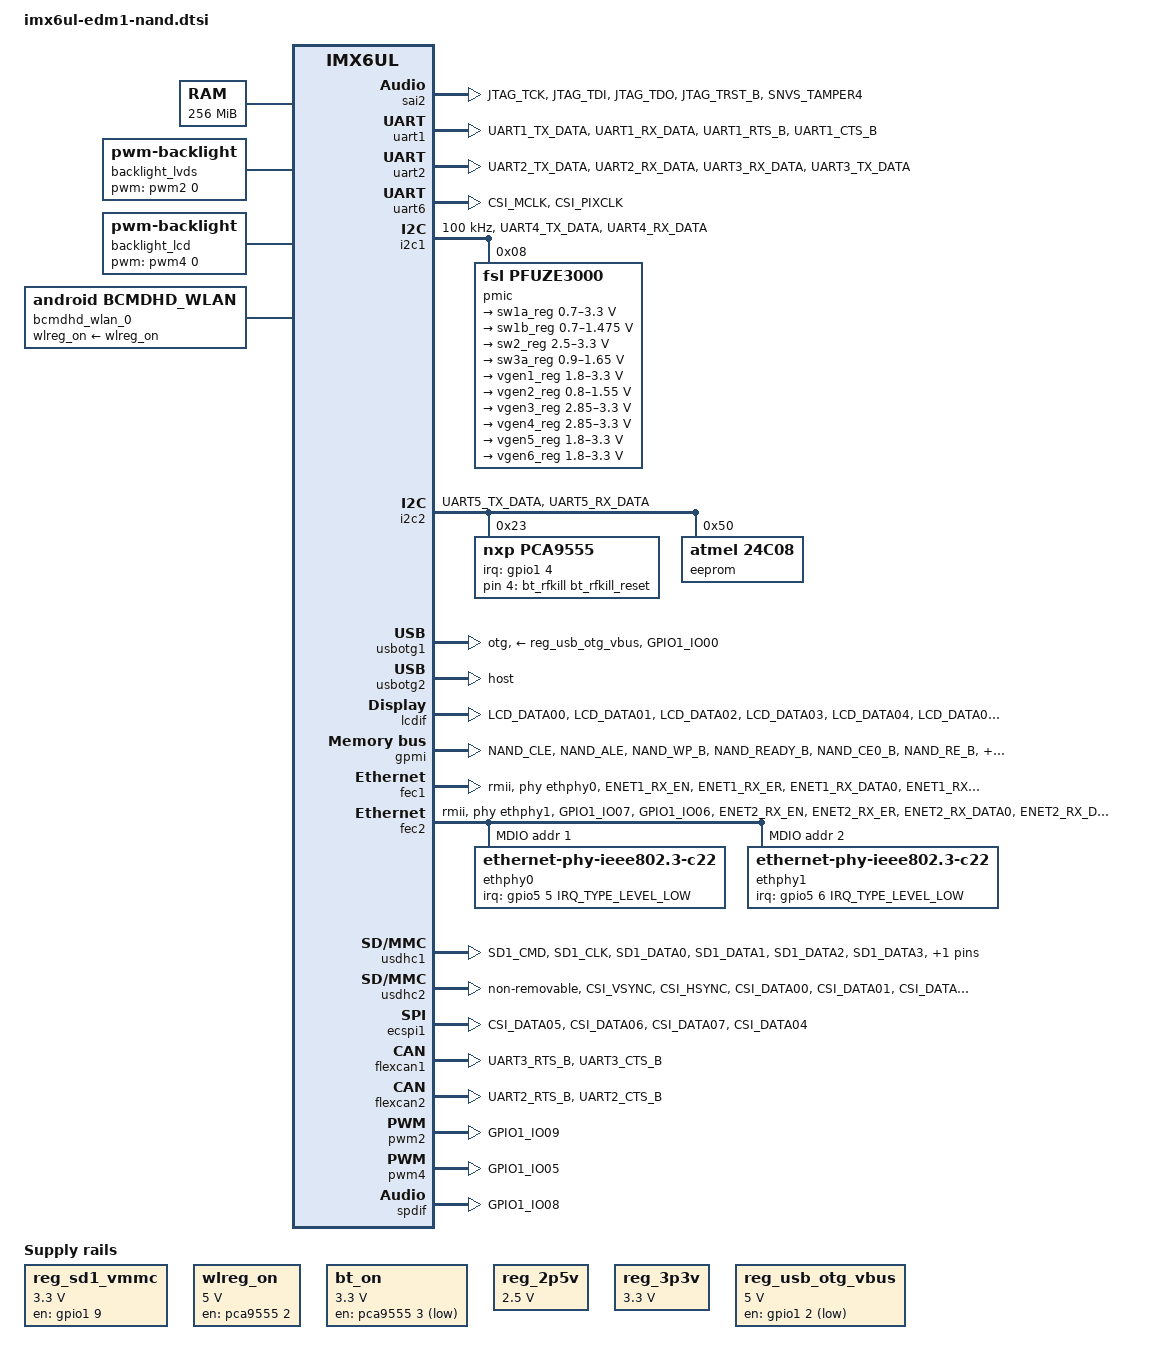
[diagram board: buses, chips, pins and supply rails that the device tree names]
/*
 * Copyright 2017 Technexion Ltd.
 *
 * Author: Tony Lin <tony.lin@technexion.com>
 *	   Tapani Utriainen <tapani@technexion.com>
 *
 * This program is free software; you can redistribute it and/or modify
 * it under the terms of the GNU General Public License version 2 as
 * published by the Free Software Foundation.
 *
 */

#include <dt-bindings/gpio/gpio.h>

/* external GPIO */
#define EDM_EXT_GPIO_P263 gpio5 7
#define EDM_EXT_GPIO_P255 pca9555 8
#define EDM_EXT_GPIO_P256 pca9555 9
#define EDM_EXT_GPIO_P257 pca9555 10
#define EDM_EXT_GPIO_P258 pca9555 11
#define EDM_EXT_GPIO_P259 pca9555 12
#define EDM_EXT_GPIO_P260 pca9555 13
#define EDM_EXT_GPIO_P261 gpio5 0
#define EDM_EXT_GPIO_P262 pca9555 14
#define EDM_EXT_GPIO_P264 pca9555 15
#define EDM_EXT_GPIO_P265 gpio1 5
#define EDM_EXT_GPIO_P266 gpio1 1

/* audio codec */
#define EDM_AUD_I2S_CHANNEL sai2
#define EDM_AUD_CLK_SRC clks IMX6UL_CLK_OSC

/* ADS7846 Touch */
#define EDM1_EXT_ADS7846_IOMUX_FAIRY &pinctrl_ext_gpio_ads7846_touch_irq_fairy

/* FT5606 Touch */
#define EDM1_EXT_FT5X06_IOMUX_FAIRY &pinctrl_ext_gpio_ft5606_touch_irq_fairy
#define EDM1_EXT_FT5X06_IOMUX_GNOME &pinctrl_ext_gpio_ft5606_touch_irq_gnome

#define EDM_EXT_GPIO_IOMUX_GNOME &pinctrl_ext_gpio_gnome

#define can1 flexcan1
#define can2 flexcan2

#define EDM1_FAIRY_I2C1 i2c3
#define EDM1_FAIRY_I2C2 i2c1
#define EDM1_FAIRY_I2C3 i2c2

#define EDM1_GNOME_I2C1 i2c3
#define EDM1_GNOME_I2C2 i2c1
#define EDM1_GNOME_I2C3 i2c2

/ {
	memory {
		reg = <0x80000000 0x10000000>;
	};

	chosen {
		stdout-path = &uart6;
	};

        pxp_v4l2 {
                compatible = "fsl,imx6ul-pxp-v4l2", "fsl,imx6sx-pxp-v4l2", "fsl,imx6sl-pxp-v4l2";
                status = "okay";
        };

        backlight_lvds {
                compatible = "pwm-backlight";
                pwms = <&pwm2 0 50000>;
                brightness-levels = <0 4 8 16 32 64 128 255>;
                default-brightness-level = <6>;
                status = "okay";
        };

        backlight_lcd {
                compatible = "pwm-backlight";
                pwms = <&pwm4 0 50000>;
                brightness-levels = <0 4 8 16 32 64 128 255>;
                default-brightness-level = <6>;
                status = "okay";
        };

	regulators {
		compatible = "simple-bus";
		#address-cells = <1>;
		#size-cells = <0>;

		reg_sd1_vmmc: regulator@1 {
			compatible = "regulator-fixed";
			regulator-name = "VSD_3V3";
			regulator-min-microvolt = <3300000>;
			regulator-max-microvolt = <3300000>;
			gpio = <&gpio1 9 GPIO_ACTIVE_HIGH>;
			enable-active-high;
			regulator-always-on;
		};

		wlreg_on: fixedregulator@100 {
			compatible = "regulator-fixed";
			regulator-min-microvolt = <5000000>;
			regulator-max-microvolt = <5000000>;
			regulator-name = "wlreg_on";
			gpio = <&pca9555 2 GPIO_ACTIVE_HIGH>;  /*WL_REG_ON  */
			startup-delay-us = <100>;
			enable-active-high;
		};

		bt_on: bt_on {
			compatible = "regulator-fixed";
			regulator-min-microvolt = <3300000>;
			regulator-max-microvolt = <3300000>;
			regulator-name = "bt_on";
			gpio = <&pca9555 3 GPIO_ACTIVE_HIGH>;
			regulator-boot-on;
		};

		reg_2p5v: 2p5v {
			compatible = "regulator-fixed";
			regulator-name = "2P5V";
			regulator-min-microvolt = <2500000>;
			regulator-max-microvolt = <2500000>;
			regulator-always-on;
		};

		reg_3p3v: 3p3v {
			compatible = "regulator-fixed";
			regulator-name = "3P3V";
			regulator-min-microvolt = <3300000>;
			regulator-max-microvolt = <3300000>;
			regulator-always-on;
		};

		reg_usb_otg_vbus: usb_otg_vbus {
			compatible = "regulator-fixed";
			pinctrl-names = "default";
			pinctrl-0 = <&pinctrl_usb_otg1>;
			regulator-name = "usb_otg_vbus";
			regulator-min-microvolt = <5000000>;
			regulator-max-microvolt = <5000000>;
			gpio = <&gpio1 2 0>;
			enable-active-low;
		};
	};

	bcmdhd_wlan_0: bcmdhd_wlan@0 {
		compatible = "android,bcmdhd_wlan";
		pinctrl-0 = <&pinctrl_wifi_ctrl>;
		pinctrl-names = "default";
		wlreg_on-supply = <&wlreg_on>;
		status="okay";
	};

	bt_rfkill {
		compatible = "net,rfkill-bcm43xx";
		name = "bt_rfkill";
		type = <2>;     /* bluetooth */
		bt_rfkill_reset-gpios = <&pca9555 4 0>;
	};

        sound-spdif {
                compatible = "fsl,imx-audio-spdif";
                model = "imx-spdif";
                spdif-controller = <&spdif>;
                spdif-in;
                spdif-out;
        };

        gpio-edm {
                compatible = "gpio-edm";

                gpio_expio0 {
                    label = "GPIO_EXPIO0";    /*LVDS_CHIP_ON*/
                    gpios = <&pca9555 0 1>;
                    dir   = "out";
                };

                gpio_expio1 {
                    label = "GPIO_EXPIO1";    /*WIFI_PW_ON*/
                    gpios = <&pca9555 1 1>;
                    dir   = "out";
                };

                gpio_expio5 {
                    label = "GPIO_EXPIO5";    /*LVDS0_BLT_EN*/
                    gpios = <&pca9555 5 1>;
                    dir   = "out";
                };

                gpio_expio6 {
                    label = "GPIO_EXPIO6";    /*LVDS0_VDD_EN*/
                    gpios = <&pca9555 6 1>;
                    dir   = "out";
                };

                gpio_expio7 {
                    label = "GPIO_EXPIO7";    /*LCD_BLT_EN*/
                    gpios = <&pca9555 7 1>;
                    dir   = "out";
                };

                gpio_expio16 {
                    label = "GPIO_EXPIO16";
                    gpios = <&gpio5 8 1>;
                    dir   = "out";
                };
        };
};

&cpu0 {
	/*
	 * on i.MX6UL, no seperated VDD_ARM_IN and VDD_SOC_IN,
	 * to align with other platform and use the same cpufreq
	 * driver, still use the seperated OPP define for arm
	 * and soc.
	 */
	operating-points = <
		/* kHz	uV */
		528000	1175000
		396000	1175000
		198000	1175000
	>;
	fsl,soc-operating-points = <
		/* KHz	uV */
		528000	1175000
		396000	1175000
		198000	1175000
	>;
	arm-supply = <&sw1b_reg>;
	soc-supply = <&sw1b_reg>;
	fsl,arm-soc-shared = <1>;
};

&clks {
	assigned-clocks = <&clks IMX6UL_CLK_PLL4_AUDIO_DIV>;
	assigned-clock-rates = <786432000>;
};

&csi {
	status = "disabled";
};

&gpc {
	fsl,cpu_pupscr_sw2iso = <0x1>;
	fsl,cpu_pupscr_sw = <0x0>;
	fsl,cpu_pdnscr_iso2sw = <0x1>;
	fsl,cpu_pdnscr_iso = <0x1>;
	fsl,wdog-reset = <1>; /* watchdog select of reset source */
	fsl,ldo-bypass = <0>; /* DCDC, ldo-enable */
};

&sai2 {
        pinctrl-names = "default";
        pinctrl-0 = <&pinctrl_sai2>;
        status = "okay";
};

&uart1 {
        pinctrl-names = "default";
        pinctrl-0 = <&pinctrl_uart1>;
        fsl,uart-has-rtscts;
        status = "okay";
};

// Bluetooth
&uart2 {
        pinctrl-names = "default";
        pinctrl-0 = <&pinctrl_uart2>;
        /* for DTE mode, add below change */
        /* fsl,dte-mode; */
        /*pinctrl-0 = <&pinctrl_uart2dte>;*/
        fsl,uart-has-rtscts;
        status = "okay";
};

/* Debug Console */
&uart6 {
        pinctrl-names = "default";
        pinctrl-0 = <&pinctrl_uart6>;
        status = "okay";
};

&i2c1 {
	clock-frequency = <100000>;
	pinctrl-names = "default";
	pinctrl-0 = <&pinctrl_i2c1>;
	status = "okay";

	pmic: pfuze3000@08 {
		compatible = "fsl,pfuze3000";
		reg = <0x08>;

		regulators {
			sw1a_reg: sw1a {
				regulator-min-microvolt = <700000>;
				regulator-max-microvolt = <3300000>;
				regulator-boot-on;
				regulator-always-on;
				regulator-ramp-delay = <6250>;
			};

			/* VDD_ARM_SOC_IN*/
			sw1b_reg: sw1b {
				regulator-min-microvolt = <700000>;
				regulator-max-microvolt = <1475000>;
				regulator-boot-on;
				regulator-always-on;
				regulator-ramp-delay = <6250>;
			};

			sw2_reg: sw2 {
				regulator-min-microvolt = <2500000>;
				regulator-max-microvolt = <3300000>;
				regulator-boot-on;
				regulator-always-on;
			};

			/* DRAM */
			sw3a_reg: sw3 {
				regulator-min-microvolt = <900000>;
				regulator-max-microvolt = <1650000>;
				regulator-boot-on;
				regulator-always-on;
			};

			/* DRAM */
			vref_reg: vrefddr {
				regulator-boot-on;
				regulator-always-on;
			};

			vgen1_reg: vldo1 {
				regulator-min-microvolt = <1800000>;
				regulator-max-microvolt = <3300000>;
				regulator-always-on;
			};

			vgen2_reg: vldo2 {
				regulator-min-microvolt = <800000>;
				regulator-max-microvolt = <1550000>;
				regulator-always-on;
			};

			vgen3_reg: vccsd {
				regulator-min-microvolt = <2850000>;
				regulator-max-microvolt = <3300000>;
				regulator-always-on;
			};

			vgen4_reg: v33 {
				regulator-min-microvolt = <2850000>;
				regulator-max-microvolt = <3300000>;
				regulator-always-on;
			};

			vgen5_reg: vldo3 {
				regulator-min-microvolt = <1800000>;
				regulator-max-microvolt = <3300000>;
				regulator-always-on;
			};

			vgen6_reg: vldo4 {
				regulator-min-microvolt = <1800000>;
				regulator-max-microvolt = <3300000>;
				regulator-always-on;
			};
		};
	};
};

&i2c2 {
	clock_frequency = <100000>;
	pinctrl-names = "default";
	pinctrl-0 = <&pinctrl_i2c2>;
	status = "okay";

        pca9555: pca9555@23 {
                compatible = "nxp,pca9555";
                pinctrl-names = "default";
                pinctrl-0 = <&pinctrl_pca9555_interrupt>;
                interrupt-parent = <&gpio1>;
                interrupts = <4 IRQ_TYPE_EDGE_FALLING>;
                gpio-controller;
                #gpio-cells = <2>;
                interrupt-controller;
                #interrupt-cells = <2>;
                reg = <0x23>;
	};

        eeprom@50 {
                compatible = "atmel,24c08";
                reg = <0x50>;
                pagesize = <16>;
        };
};

&i2c3 {
        status = "disabled";
};

&iomuxc {
	pinctrl-names = "default";
	pinctrl-0 = <&pinctrl_hog_1>;

	edm1-imx6ul {
                  pinctrl_ext_gpio_gnome: ext-gpio-grp-gnome {
                        fsl,pins = <
				MX6UL_PAD_GPIO1_IO01__GPIO1_IO01	0x79
				MX6UL_PAD_SNVS_TAMPER7__GPIO5_IO07	0x79
			>;
		};

		  pinctrl_hog_1: hoggrp-1 {
			fsl,pins = <
				MX6UL_PAD_GPIO1_IO03__GPIO1_IO03	0x17059		/* SD1 CD */
				MX6UL_PAD_JTAG_TMS__CCM_CLKO1		0x17088
			>;
		  };

                  pinctrl_uart1: uart1grp {
                        fsl,pins = <
                                MX6UL_PAD_UART1_TX_DATA__UART1_DCE_TX	0x1b0b1
                                MX6UL_PAD_UART1_RX_DATA__UART1_DCE_RX	0x1b0b1
                                MX6UL_PAD_UART1_RTS_B__UART1_DCE_RTS	0x1b0b1
                                MX6UL_PAD_UART1_CTS_B__UART1_DCE_CTS	0x1b0b1
                        >;
                  };

                  pinctrl_uart2: uart2grp {
                        fsl,pins = <
                                MX6UL_PAD_UART2_TX_DATA__UART2_DCE_TX	0x1b0b1
                                MX6UL_PAD_UART2_RX_DATA__UART2_DCE_RX	0x1b0b1
                                MX6UL_PAD_UART3_RX_DATA__UART2_DCE_RTS	0x1b0b1
                                MX6UL_PAD_UART3_TX_DATA__UART2_DCE_CTS	0x1b0b1
                        >;
                  };

                  pinctrl_uart2dte: uart2dtegrp {
                        fsl,pins = <
                                MX6UL_PAD_UART2_TX_DATA__UART2_DTE_RX	0x1b0b1
                                MX6UL_PAD_UART2_RX_DATA__UART2_DTE_TX	0x1b0b1
                                MX6UL_PAD_UART3_RX_DATA__UART2_DTE_CTS	0x1b0b1
                                MX6UL_PAD_UART3_TX_DATA__UART2_DTE_RTS	0x1b0b1
                        >;
                  };

                  pinctrl_uart6: uart6grp {
                        fsl,pins = <
                                MX6UL_PAD_CSI_MCLK__UART6_DCE_TX 0x1b0b1
                                MX6UL_PAD_CSI_PIXCLK__UART6_DCE_RX 0x1b0b1
                        >;
                  };

		  pinctrl_usdhc1: usdhc1grp {
			fsl,pins = <
				MX6UL_PAD_SD1_CMD__USDHC1_CMD     0x17059
				MX6UL_PAD_SD1_CLK__USDHC1_CLK     0x10071
				MX6UL_PAD_SD1_DATA0__USDHC1_DATA0 0x17059
				MX6UL_PAD_SD1_DATA1__USDHC1_DATA1 0x17059
				MX6UL_PAD_SD1_DATA2__USDHC1_DATA2 0x17059
				MX6UL_PAD_SD1_DATA3__USDHC1_DATA3 0x17059
			>;
		  };

		  pinctrl_i2c1: i2c1grp {
			fsl,pins = <
				MX6UL_PAD_UART4_TX_DATA__I2C1_SCL	0x4001b8b0
				MX6UL_PAD_UART4_RX_DATA__I2C1_SDA	0x4001b8b0
			>;
		  };

		  pinctrl_i2c2: i2c2grp {
			fsl,pins = <
				MX6UL_PAD_UART5_TX_DATA__I2C2_SCL 0x4001b8b0
				MX6UL_PAD_UART5_RX_DATA__I2C2_SDA 0x4001b8b0
			>;
		  };

		  pinctrl_wifi_ctrl: wifi_ctrlgrp {
			fsl,pins = <
				MX6UL_PAD_SNVS_TAMPER8__GPIO5_IO08 0x79 /* wifi-host-wake */
			>;
		  };

		  pinctrl_lcdif_dat: lcdifdatgrp {
			fsl,pins = <
				MX6UL_PAD_LCD_DATA00__LCDIF_DATA00  0x79
				MX6UL_PAD_LCD_DATA01__LCDIF_DATA01  0x79
				MX6UL_PAD_LCD_DATA02__LCDIF_DATA02  0x79
				MX6UL_PAD_LCD_DATA03__LCDIF_DATA03  0x79
				MX6UL_PAD_LCD_DATA04__LCDIF_DATA04  0x79
				MX6UL_PAD_LCD_DATA05__LCDIF_DATA05  0x79
				MX6UL_PAD_LCD_DATA06__LCDIF_DATA06  0x79
				MX6UL_PAD_LCD_DATA07__LCDIF_DATA07  0x79
				MX6UL_PAD_LCD_DATA08__LCDIF_DATA08  0x79
				MX6UL_PAD_LCD_DATA09__LCDIF_DATA09  0x79
				MX6UL_PAD_LCD_DATA10__LCDIF_DATA10  0x79
				MX6UL_PAD_LCD_DATA11__LCDIF_DATA11  0x79
				MX6UL_PAD_LCD_DATA12__LCDIF_DATA12  0x79
				MX6UL_PAD_LCD_DATA13__LCDIF_DATA13  0x79
				MX6UL_PAD_LCD_DATA14__LCDIF_DATA14  0x79
				MX6UL_PAD_LCD_DATA15__LCDIF_DATA15  0x79
				MX6UL_PAD_LCD_DATA16__LCDIF_DATA16  0x79
				MX6UL_PAD_LCD_DATA17__LCDIF_DATA17  0x79
				MX6UL_PAD_LCD_DATA18__LCDIF_DATA18  0x79
				MX6UL_PAD_LCD_DATA19__LCDIF_DATA19  0x79
				MX6UL_PAD_LCD_DATA20__LCDIF_DATA20  0x79
				MX6UL_PAD_LCD_DATA21__LCDIF_DATA21  0x79
				MX6UL_PAD_LCD_DATA22__LCDIF_DATA22  0x79
				MX6UL_PAD_LCD_DATA23__LCDIF_DATA23  0x79
			>;
		  };

		  pinctrl_lcdif_ctrl: lcdifctrlgrp {
			fsl,pins = <
				MX6UL_PAD_LCD_CLK__LCDIF_CLK	    0x79
				MX6UL_PAD_LCD_ENABLE__LCDIF_ENABLE  0x79
				MX6UL_PAD_LCD_HSYNC__LCDIF_HSYNC    0x79
				MX6UL_PAD_LCD_VSYNC__LCDIF_VSYNC    0x79
				/* used for lcd reset */
				MX6UL_PAD_SNVS_TAMPER9__GPIO5_IO09  0x79
			>;
		  };

		  pinctrl_gpmi_nand: gpmi-nand {
			fsl,pins = <
				MX6UL_PAD_NAND_CLE__RAWNAND_CLE         0xb0b1
				MX6UL_PAD_NAND_ALE__RAWNAND_ALE         0xb0b1
				MX6UL_PAD_NAND_WP_B__RAWNAND_WP_B       0xb0b1
				MX6UL_PAD_NAND_READY_B__RAWNAND_READY_B 0xb000
				MX6UL_PAD_NAND_CE0_B__RAWNAND_CE0_B     0xb0b1
				MX6UL_PAD_NAND_RE_B__RAWNAND_RE_B       0xb0b1
				MX6UL_PAD_NAND_WE_B__RAWNAND_WE_B       0xb0b1
				MX6UL_PAD_NAND_DATA00__RAWNAND_DATA00   0xb0b1
				MX6UL_PAD_NAND_DATA01__RAWNAND_DATA01   0xb0b1
				MX6UL_PAD_NAND_DATA02__RAWNAND_DATA02   0xb0b1
				MX6UL_PAD_NAND_DATA03__RAWNAND_DATA03   0xb0b1
				MX6UL_PAD_NAND_DATA04__RAWNAND_DATA04   0xb0b1
				MX6UL_PAD_NAND_DATA05__RAWNAND_DATA05   0xb0b1
				MX6UL_PAD_NAND_DATA06__RAWNAND_DATA06   0xb0b1
				MX6UL_PAD_NAND_DATA07__RAWNAND_DATA07   0xb0b1
				MX6UL_PAD_NAND_DQS__QSPI_A_SS0_B          0x70a1
			>;
		  };

                pinctrl_enet1: enet1grp {
                        fsl,pins = <
                                MX6UL_PAD_ENET1_RX_EN__ENET1_RX_EN	0x1b0b0
                                MX6UL_PAD_ENET1_RX_ER__ENET1_RX_ER	0x1b0b0
                                MX6UL_PAD_ENET1_RX_DATA0__ENET1_RDATA00	0x1b0b0
                                MX6UL_PAD_ENET1_RX_DATA1__ENET1_RDATA01	0x1b0b0
                                MX6UL_PAD_ENET1_TX_EN__ENET1_TX_EN	0x1b0b0
                                MX6UL_PAD_ENET1_TX_DATA0__ENET1_TDATA00	0x1b0b0
                                MX6UL_PAD_ENET1_TX_DATA1__ENET1_TDATA01	0x1b0b0
                                MX6UL_PAD_ENET1_TX_CLK__ENET1_REF_CLK1	0x4001b031
                                MX6UL_PAD_SNVS_TAMPER5__GPIO5_IO05	0x800
                                MX6UL_PAD_SNVS_TAMPER2__GPIO5_IO02	0x79
                        >;
                };

		pinctrl_enet2: enet2grp {
			fsl,pins = <
				MX6UL_PAD_GPIO1_IO07__ENET2_MDC		0x1b0b0
				MX6UL_PAD_GPIO1_IO06__ENET2_MDIO	0x1b0b0
				MX6UL_PAD_ENET2_RX_EN__ENET2_RX_EN	0x1b0b0
				MX6UL_PAD_ENET2_RX_ER__ENET2_RX_ER	0x1b0b0
				MX6UL_PAD_ENET2_RX_DATA0__ENET2_RDATA00	0x1b0b0
				MX6UL_PAD_ENET2_RX_DATA1__ENET2_RDATA01	0x1b0b0
				MX6UL_PAD_ENET2_TX_EN__ENET2_TX_EN	0x1b0b0
				MX6UL_PAD_ENET2_TX_DATA0__ENET2_TDATA00	0x1b0b0
				MX6UL_PAD_ENET2_TX_DATA1__ENET2_TDATA01	0x1b0b0
				MX6UL_PAD_ENET2_TX_CLK__ENET2_REF_CLK2	0x4001b031
				MX6UL_PAD_SNVS_TAMPER6__GPIO5_IO06	0x800
				MX6UL_PAD_SNVS_TAMPER3__GPIO5_IO03	0x79    /* ethernet reset pin */
			>;
		};

		pinctrl_usdhc2: usdhc2grp {
			fsl,pins = <
				MX6UL_PAD_CSI_VSYNC__USDHC2_CLK		0x10059
				MX6UL_PAD_CSI_HSYNC__USDHC2_CMD		0x17059
				MX6UL_PAD_CSI_DATA00__USDHC2_DATA0	0x17059
				MX6UL_PAD_CSI_DATA01__USDHC2_DATA1	0x17059
				MX6UL_PAD_CSI_DATA02__USDHC2_DATA2	0x17059
				MX6UL_PAD_CSI_DATA03__USDHC2_DATA3	0x17059
			>;
		};

                pinctrl_sai2: sai2grp {
                        fsl,pins = <
                                MX6UL_PAD_JTAG_TCK__SAI2_RX_DATA	0x110b0
                                MX6UL_PAD_JTAG_TDI__SAI2_TX_BCLK	0x110b0
                                MX6UL_PAD_JTAG_TDO__SAI2_TX_SYNC	0x110b0
                                MX6UL_PAD_JTAG_TRST_B__SAI2_TX_DATA	0x1f0b8
                                MX6UL_PAD_SNVS_TAMPER4__GPIO5_IO04 0x17059
                        >;
                };

                pinctrl_spdif: spdifgrp {
                        fsl,pins = <
                                MX6UL_PAD_GPIO1_IO08__SPDIF_OUT       0x1b0b0
                        >;
                };

                pinctrl_ecspi1: ecspi1grp {
                        fsl,pins = <
                                MX6UL_PAD_CSI_DATA05__GPIO4_IO26  0x10b0
                                MX6UL_PAD_CSI_DATA06__ECSPI1_MOSI 0x10b0
                                MX6UL_PAD_CSI_DATA07__ECSPI1_MISO 0x10b0
                                MX6UL_PAD_CSI_DATA04__ECSPI1_SCLK 0x10b0
                        >;
                };

		pinctrl_flexcan1: flexcan1grp {
			fsl,pins = <
				MX6UL_PAD_UART3_RTS_B__FLEXCAN1_RX	0x1b020
				MX6UL_PAD_UART3_CTS_B__FLEXCAN1_TX	0x1b020
			>;
		};

		pinctrl_flexcan2: flexcan2grp {
			fsl,pins = <
				MX6UL_PAD_UART2_RTS_B__FLEXCAN2_RX	0x1b020
				MX6UL_PAD_UART2_CTS_B__FLEXCAN2_TX	0x1b020
			>;
		};

                pinctrl_pwm2: pwm2grp {
                        fsl,pins = <
                                MX6UL_PAD_GPIO1_IO09__PWM2_OUT   0x110b0
                        >;
                };

		pinctrl_pwm4: pwm4grp {
			fsl,pins = <
				MX6UL_PAD_GPIO1_IO05__PWM4_OUT	0x110b0
			>;
		};

		pinctrl_usb_otg1_id: usbotg1idgrp {
			fsl,pins = <
				MX6UL_PAD_GPIO1_IO00__ANATOP_OTG1_ID	0x17059
			>;
		};

                pinctrl_usb_otg1: usbotg1grp {
                        fsl,pins = <
                                MX6UL_PAD_GPIO1_IO02__GPIO1_IO02        0x10b0
                        >;
                };

                pinctrl_pca9555_interrupt: pca9555_interrupt {
                        fsl,pins = <
                                MX6UL_PAD_GPIO1_IO04__GPIO1_IO04 0x17059
                        >;
                };

                pinctrl_ext_gpio_ads7846_touch_irq_fairy: ext-gpio-ads7846-touch-irq-fairy {
                        fsl,pins = <
                                MX6UL_PAD_SNVS_TAMPER7__GPIO5_IO07     0x79 // GPIO1_04 EDM pin 263 touch irq
                        >;
                };

                pinctrl_ext_gpio_ft5606_touch_irq_fairy: ext-gpio-ft5606-touch-irq-fairy {
                        fsl,pins = <
                                MX6UL_PAD_SNVS_TAMPER0__GPIO5_IO00     0x79 /* GPIO6_03 EDM pin 261, touch irq */
                        >;
                };

		pinctrl_ext_gpio_ft5606_touch_irq_gnome: ext-gpio-ft5606-touch-irq-gnome {
			fsl,pins = <
				MX6UL_PAD_SNVS_TAMPER0__GPIO5_IO00	0x79 /* GPIO6_03 EDM pin 261, touch irq */
			>;
		};
	};
};

&usbotg1 {
	dr_mode = "otg";
	srp-disable;
	hnp-disable;
	adp-disable;
	status = "okay";
};

&usbotg1 {
	vbus-supply = <&reg_usb_otg_vbus>;
	pinctrl-names = "default";
	pinctrl-0 = <&pinctrl_usb_otg1_id>;
	dr_mode = "otg";
	disable-over-current;
	status = "okay";
};

&usbotg2 {
	dr_mode = "host";
	disable-over-current;
	status = "okay";
};

&lcdif {
	pinctrl-names = "default";
	pinctrl-0 = <&pinctrl_lcdif_dat
		     &pinctrl_lcdif_ctrl>;
	display = <&display0>;
	status = "okay";

	display0: display {
		bits-per-pixel = <32>;
		bus-width = <24>;

		display-timings {
			native-mode = <&timing0>;
			timing0: timing0 {
			clock-frequency = <33200000>;
			hactive = <800>;
			vactive = <480>;
			hfront-porch = <210>;
			hback-porch = <46>;
			hsync-len = <1>;
			vback-porch = <22>;
			vfront-porch = <23>;
			vsync-len = <1>;

                        hsync-active = <0>;
                        vsync-active = <0>;
                        de-active = <1>;
                        pixelclk-active = <0>;
			};
		};
	};
};

&gpmi {
	pinctrl-names = "default";
	pinctrl-0 = <&pinctrl_gpmi_nand>;
	nand-on-flash-bbt;
	status = "okay";
};

&fec1 {
        pinctrl-names = "default";
        pinctrl-0 = <&pinctrl_enet1>;
        phy-mode = "rmii";
        phy-handle = <&ethphy0>;
        status = "okay";
        phy-reset-gpios = <&gpio5 2 GPIO_ACTIVE_LOW>;
        phy-reset-duration = <11>;
};

&fec2 {
	pinctrl-names = "default";
	pinctrl-0 = <&pinctrl_enet2>;
	phy-mode = "rmii";
	phy-handle = <&ethphy1>;
	status = "okay";
	phy-reset-gpios = <&gpio5 3 GPIO_ACTIVE_LOW>;
	phy-reset-duration = <11>;

	mdio {
		#address-cells = <1>;
		#size-cells = <0>;

                ethphy0: ethernet-phy@1 {
                        compatible = "ethernet-phy-ieee802.3-c22";
                        reg = <1>;
                        max-speed = <100>;
                        interrupt-parent = <&gpio5>;
                        interrupts = <5 IRQ_TYPE_LEVEL_LOW 0>;
                };

                ethphy1: ethernet-phy@2 {
                        compatible = "ethernet-phy-ieee802.3-c22";
                        reg = <2>;
			max-speed = <100>;
			interrupt-parent = <&gpio5>;
			interrupts = <6 IRQ_TYPE_LEVEL_LOW 0>;
		};
	};
};


&usdhc1 {  /* Baseboard microSD slot */
	pinctrl-names = "default";
	pinctrl-0 = <&pinctrl_usdhc1>;
	cd-gpios = <&gpio1 3 GPIO_ACTIVE_LOW>;
	keep-power-in-suspend;
	enable-sdio-wakeup;
	status = "okay";
};

&usdhc2 {  /* Wifi SDIO */
	pinctrl-names = "default";
	pinctrl-0 = <&pinctrl_usdhc2>;
	no-1-8-v;
	keep-power-in-suspend;
	non-removable;
	cd-post;
	pm-ignore-notify;
	wifi-host;
	status = "okay";
};

&ecspi1 {
        fsl,spi-num-chipselects = <1>;
        cs-gpios = <&gpio4 26 GPIO_ACTIVE_HIGH>;
        pinctrl-names = "default";
        pinctrl-0 = <&pinctrl_ecspi1>;
        status = "okay";
};

&flexcan1 {
	pinctrl-names = "default";
	pinctrl-0 = <&pinctrl_flexcan1>;
	status = "okay";
};

&flexcan2 {
	pinctrl-names = "default";
	pinctrl-0 = <&pinctrl_flexcan2>;
	status = "okay";
};

&pwm2 {
        pinctrl-names = "default";
        pinctrl-0 = <&pinctrl_pwm2>;
        clocks = <&clks IMX6UL_CLK_PWM2>,
                  <&clks IMX6UL_CLK_PWM2>;
        status = "okay";
};

&pwm4 {
	pinctrl-names = "default";
	pinctrl-0 = <&pinctrl_pwm4>;
	clocks = <&clks IMX6UL_CLK_PWM4>,
		  <&clks IMX6UL_CLK_PWM4>;
	status = "okay";
};

&spdif {
        pinctrl-names = "default";
        pinctrl-0 = <&pinctrl_spdif>;
        assigned-clocks = <&clks IMX6UL_CLK_SPDIF_SEL>,
                <&clks IMX6UL_CLK_SPDIF_PODF>;
        assigned-clock-parents = <&clks IMX6UL_CLK_PLL4_AUDIO_DIV>;
        assigned-clock-rates = <0>, <227368421>;
        status = "okay";
};
